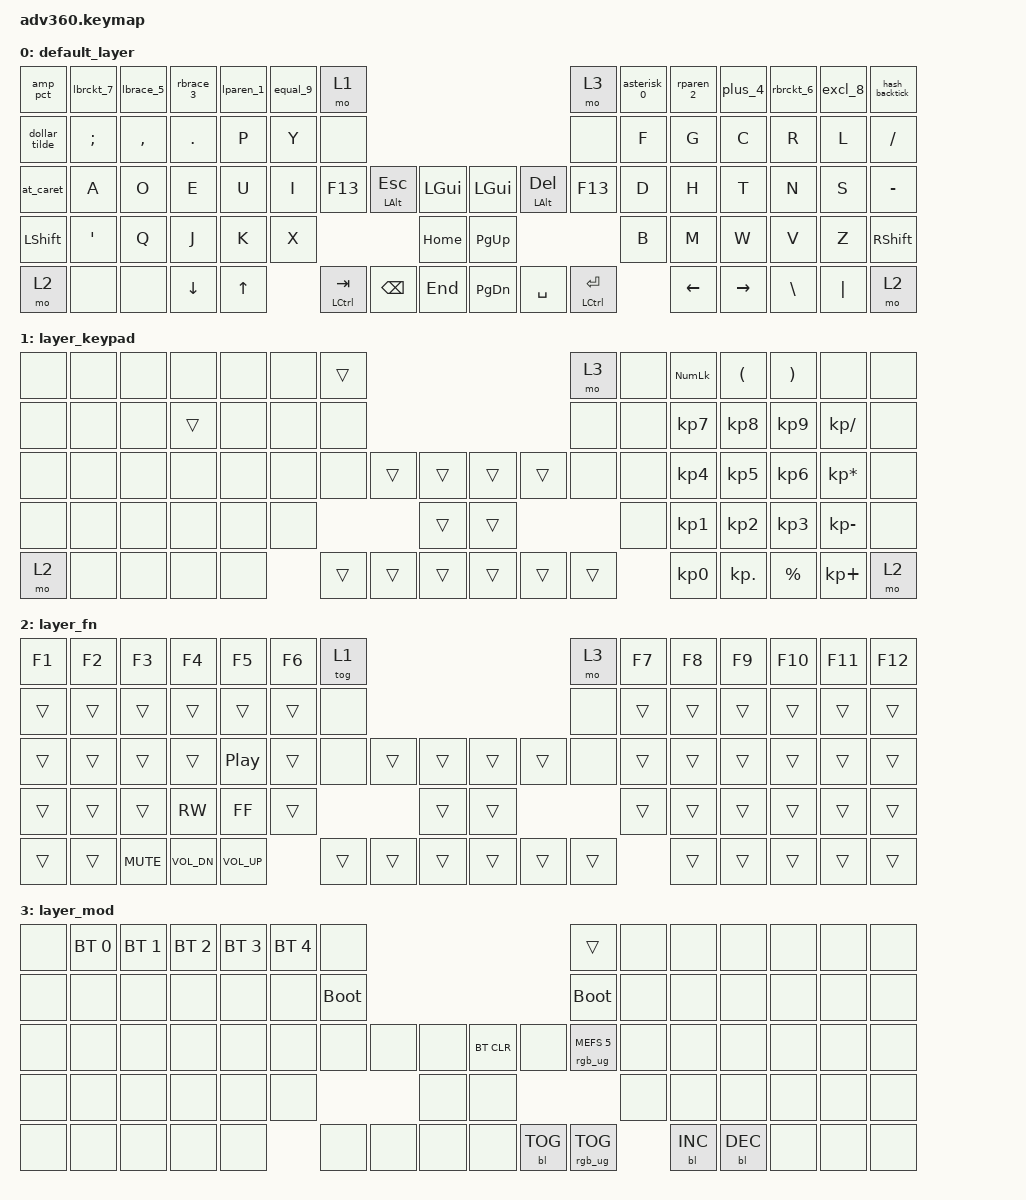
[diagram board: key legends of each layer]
/*
 * Copyright (c) 2020 The ZMK Contributors
 *
 * SPDX-License-Identifier: MIT
 */
/* THIS FILE WAS GENERATED!
 *
 * This file was generated automatically. You may or may not want to
 * edit it directly.
 */

#include <dt-bindings/zmk/stp.h>
#include <behaviors.dtsi>
#include <dt-bindings/zmk/backlight.h>
#include <dt-bindings/zmk/bt.h>
#include <dt-bindings/zmk/keys.h>
#include <dt-bindings/zmk/rgb.h>

/ {
    behaviors {
        #include "macros.dtsi"
    #include "version.dtsi"
      #ifndef VERSION_MACRO

        macro_ver: macro_ver {
            compatible = "zmk,behavior-macro";
            label = "macro_version";
            #binding-cells = <0>;
            bindings = <&kp RET>;
        };

        #endif

        dollar_tilde: dollar_tilde {
            compatible = "zmk,behavior-mod-morph";
            label = "DOLLAR_TILDE";
            bindings = <&kp DOLLAR>, <&kp TILDE>;

            #binding-cells = <0>;
            mods = <(MOD_RSFT|MOD_LSFT)>;
        };

        amp_pct: amp_pct {
            compatible = "zmk,behavior-mod-morph";
            label = "AMP_PCT";
            bindings = <&kp AMPERSAND>, <&kp PERCENT>;

            #binding-cells = <0>;
            mods = <(MOD_RSFT|MOD_LSFT)>;
        };

        lbrckt_7: lbrckt_7 {
            compatible = "zmk,behavior-mod-morph";
            label = "LBRCKT_7";
            bindings = <&kp LEFT_BRACKET>, <&kp N7>;

            #binding-cells = <0>;
            mods = <(MOD_RSFT|MOD_LSFT)>;
        };

        lbrace_5: lbrace_5 {
            compatible = "zmk,behavior-mod-morph";
            label = "LBRACE_5";
            bindings = <&kp LEFT_BRACE>, <&kp N5>;

            #binding-cells = <0>;
            mods = <(MOD_RSFT|MOD_LSFT)>;
        };

        rbrace_3: rbrace_3 {
            compatible = "zmk,behavior-mod-morph";
            label = "RBRACE_3";
            bindings = <&kp RIGHT_BRACE>, <&kp N3>;

            #binding-cells = <0>;
            mods = <(MOD_RSFT|MOD_LSFT)>;
        };

        lparen_1: lparen_1 {
            compatible = "zmk,behavior-mod-morph";
            label = "LPAREN_1";
            bindings = <&kp LEFT_PARENTHESIS>, <&kp N1>;

            #binding-cells = <0>;
            mods = <(MOD_RSFT|MOD_LSFT)>;
        };

        equal_9: equal_9 {
            compatible = "zmk,behavior-mod-morph";
            label = "EQUAL_9";
            bindings = <&kp EQUAL>, <&kp N9>;

            #binding-cells = <0>;
            mods = <(MOD_RSFT|MOD_LSFT)>;
        };

        asterisk_0: asterisk_0 {
            compatible = "zmk,behavior-mod-morph";
            label = "ASTERISK_0";
            bindings = <&kp ASTERISK>, <&kp N0>;

            #binding-cells = <0>;
            mods = <(MOD_LSFT|MOD_RSFT)>;
        };

        rparen_2: rparen_2 {
            compatible = "zmk,behavior-mod-morph";
            label = "RPAREN_2";
            bindings = <&kp RIGHT_PARENTHESIS>, <&kp NUMBER_2>;

            #binding-cells = <0>;
            mods = <(MOD_LSFT|MOD_RSFT)>;
        };

        plus_4: plus_4 {
            compatible = "zmk,behavior-mod-morph";
            label = "PLUS_4";
            bindings = <&kp PLUS>, <&kp NUMBER_4>;

            #binding-cells = <0>;
            mods = <(MOD_LSFT|MOD_RSFT)>;
        };

        rbrckt_6: rbrckt_6 {
            compatible = "zmk,behavior-mod-morph";
            label = "RBRCKT_6";
            bindings = <&kp RIGHT_BRACKET>, <&kp NUMBER_6>;

            #binding-cells = <0>;
            mods = <(MOD_LSFT|MOD_RSFT)>;
        };

        excl_8: excl_8 {
            compatible = "zmk,behavior-mod-morph";
            label = "EXCL_8";
            bindings = <&kp EXCLAMATION>, <&kp NUMBER_8>;

            #binding-cells = <0>;
            mods = <(MOD_LSFT|MOD_RSFT)>;
        };

        hash_backtick: hash_backtick {
            compatible = "zmk,behavior-mod-morph";
            label = "HASH_BACKTICK";
            bindings = <&kp HASH>, <&kp GRAVE>;

            #binding-cells = <0>;
            mods = <(MOD_LSFT|MOD_RSFT)>;
        };

        at_caret: at_caret {
            compatible = "zmk,behavior-mod-morph";
            label = "AT_CARET";
            bindings = <&kp AT_SIGN>, <&kp CARET>;

            #binding-cells = <0>;
            mods = <(MOD_LSFT|MOD_RSFT)>;
        };
    };

    macros {
    };

    keymap {
        compatible = "zmk,keymap";

        default_layer {
            bindings = <
&amp_pct       &lbrckt_7      &lbrace_5  &rbrace_3   &lparen_1  &equal_9  &mo 1                                                                &mo 3          &asterisk_0  &rparen_2  &plus_4    &rbrckt_6  &excl_8   &hash_backtick
&dollar_tilde  &kp SEMICOLON  &kp COMMA  &kp PERIOD  &kp P      &kp Y     &none                                                                &none          &kp F        &kp G      &kp C      &kp R      &kp L     &kp SLASH
&at_caret      &kp A          &kp O      &kp E       &kp U      &kp I     &kp F13        &mt LALT ESC   &kp LGUI      &kp LGUI   &mt LALT DEL  &kp F13        &kp D        &kp H      &kp T      &kp N      &kp S     &kp MINUS
&kp LSHFT      &kp SQT        &kp Q      &kp J       &kp K      &kp X                                   &kp HOME      &kp PG_UP                               &kp B        &kp M      &kp W      &kp V      &kp Z     &kp RSHFT
&mo 2          &none          &none      &kp DOWN    &kp UP               &mt LCTRL TAB  &kp BACKSPACE  &kp END       &kp PG_DN  &kp SPACE     &mt LCTRL RET               &kp LEFT   &kp RIGHT  &kp BSLH   &kp PIPE  &mo 2
            >;
        };

        layer_keypad {
            bindings = <
&none  &none  &none  &none   &none  &none  &trans                                      &mo 3   &none  &kp KP_NUM  &kp LEFT_PARENTHESIS  &kp RIGHT_PARENTHESIS  &none            &none
&none  &none  &none  &trans  &none  &none  &none                                       &none   &none  &kp KP_N7   &kp KP_N8             &kp KP_N9              &kp KP_DIVIDE    &none
&none  &none  &none  &none   &none  &none  &none   &trans  &trans      &trans  &trans  &none   &none  &kp KP_N4   &kp KP_N5             &kp KP_N6              &kp KP_MULTIPLY  &none
&none  &none  &none  &none   &none  &none                  &trans      &trans                  &none  &kp KP_N1   &kp KP_N2             &kp KP_N3              &kp KP_MINUS     &none
&mo 2  &none  &none  &none   &none         &trans  &trans  &trans      &trans  &trans  &trans         &kp KP_N0   &kp KP_DOT            &kp PRCNT              &kp KP_PLUS      &mo 2
            >;
        };

        layer_fn {
            bindings = <
&kp F1  &kp F2  &kp F3      &kp F4        &kp F5        &kp F6  &tog 1                                      &mo 3   &kp F7  &kp F8  &kp F9  &kp F10  &kp F11  &kp F12
&trans  &trans  &trans      &trans        &trans        &trans  &none                                       &none   &trans  &trans  &trans  &trans   &trans   &trans
&trans  &trans  &trans      &trans        &kp C_PP      &trans  &none   &trans  &trans      &trans  &trans  &none   &trans  &trans  &trans  &trans   &trans   &trans
&trans  &trans  &trans      &kp C_RW      &kp C_FF      &trans                  &trans      &trans                  &trans  &trans  &trans  &trans   &trans   &trans
&trans  &trans  &kp C_MUTE  &kp C_VOL_DN  &kp C_VOL_UP          &trans  &trans  &trans      &trans  &trans  &trans          &trans  &trans  &trans   &trans   &trans
            >;
        };

        layer_mod {
            bindings = <
&none  &bt BT_SEL 0  &bt BT_SEL 1  &bt BT_SEL 2  &bt BT_SEL 3  &bt BT_SEL 4  &none                                                  &trans                  &none  &none       &none       &none  &none  &none
&none  &none         &none         &none         &none         &none         &bootloader                                            &bootloader             &none  &none       &none       &none  &none  &none
&none  &none         &none         &none         &none         &none         &none        &none  &none      &bt BT_CLR  &none       &rgb_ug RGB_MEFS_CMD 5  &none  &none       &none       &none  &none  &none
&none  &none         &none         &none         &none         &none                             &none      &none                                           &none  &none       &none       &none  &none  &none
&none  &none         &none         &none         &none                       &none        &none  &none      &none       &bl BL_TOG  &rgb_ug RGB_TOG                &bl BL_INC  &bl BL_DEC  &none  &none  &none
            >;
        };
    };
};
